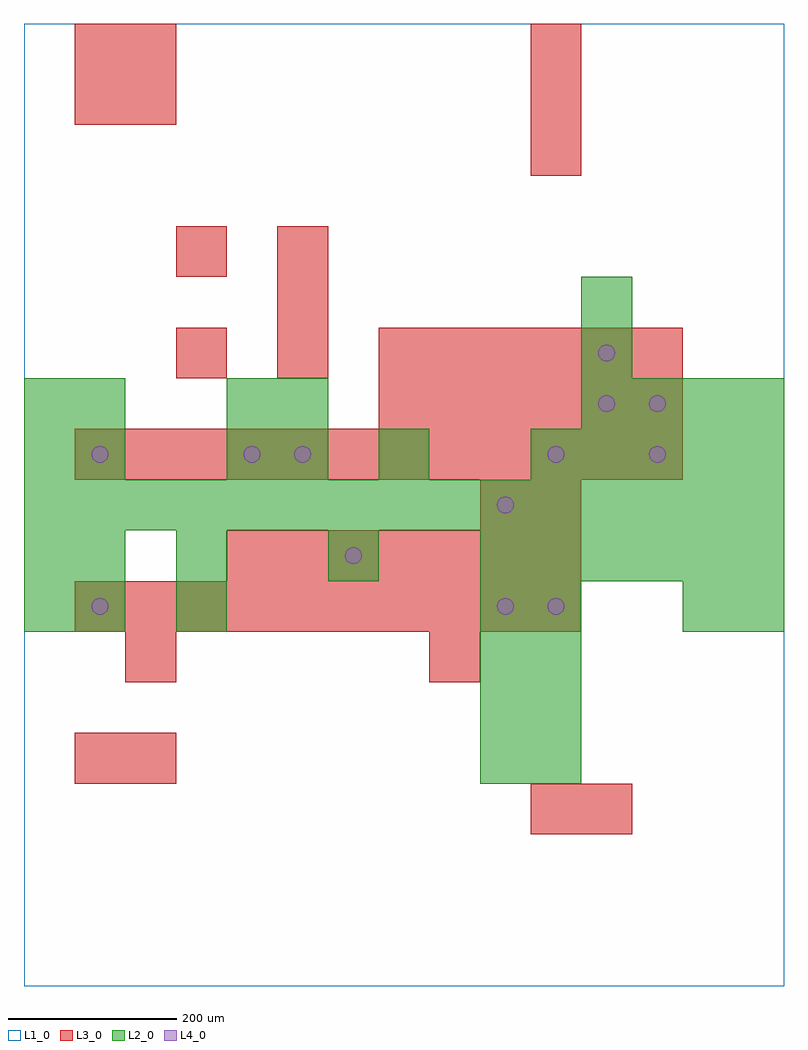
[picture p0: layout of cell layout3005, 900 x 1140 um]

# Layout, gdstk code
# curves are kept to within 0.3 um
import gdstk
lib = gdstk.Library(unit=1e-6, precision=1e-09)
def R(c, l, rs):  # rectangles x0, y0, x1, y1
    for r in rs: c.add(gdstk.rectangle(r[:2], r[2:], *l))
def A(c, l, x, y, w, h, nx, ny, dx, dy):  # array of equal rectangles
    R(c, l, [(x+i*dx, y+j*dy, x+i*dx+w, y+j*dy+h) for i in range(nx) for j in range(ny)])
def P(c, l, *ps):  # polygons
    for p in ps: c.add(gdstk.Polygon(p, *l))
L1_0 = (1, 0)
L2_0 = (2, 0)
L3_0 = (3, 0)
L4_0 = (4, 0)

layout3005 = lib.new_cell('layout3005')
R(layout3005, L1_0, [(0,0,900,1140)])
A(layout3005, L2_0, 540, 240, 60, 60, 1, 4, 0, 60)
A(layout3005, L2_0, 600, 240, 60, 60, 1, 4, 0, 60)
A(layout3005, L2_0, 180, 480, 60, 60, 3, 1, 180, 0)
A(layout3005, L2_0, 600, 480, 60, 60, 5, 2, 60, 120)
A(layout3005, L2_0, 0, 540, 60, 60, 15, 1, 60, 0)
A(layout3005, L2_0, 660, 660, 60, 60, 4, 1, 60, 0)
R(layout3005, L2_0, [(0,420,60,480), (60,420,120,480), (180,420,240,480), (780,420,840,480), (840,420,900,480), (0,480,60,540), (60,480,120,540), (0,600,60,660), (60,600,120,660), (240,600,300,660), (300,600,360,660), (420,600,480,660), (0,660,60,720), (60,660,120,720), (240,660,300,720), (300,660,360,720), (660,720,720,780), (660,780,720,840)])
A(layout3005, L3_0, 60, 420, 60, 60, 10, 1, 60, 0)
A(layout3005, L3_0, 240, 480, 60, 60, 7, 1, 60, 0)
A(layout3005, L3_0, 60, 600, 60, 60, 12, 1, 60, 0)
A(layout3005, L3_0, 420, 660, 60, 60, 6, 1, 60, 0)
A(layout3005, L3_0, 180, 720, 60, 60, 3, 1, 120, 0)
A(layout3005, L3_0, 480, 720, 60, 60, 5, 1, 60, 0)
A(layout3005, L3_0, 600, 960, 60, 60, 1, 3, 0, 60)
R(layout3005, L3_0, [(600,180,660,240), (660,180,720,240), (60,240,120,300), (120,240,180,300), (120,360,180,420), (480,360,540,420), (540,540,600,600), (600,540,660,600), (300,780,360,840), (180,840,240,900), (300,840,360,900), (60,1020,120,1080), (120,1020,180,1080), (60,1080,120,1140), (120,1080,180,1140)])
P(layout3005, L4_0, [(100,450),(99.239,453.827),(97.071,457.071),(93.827,459.239),(90,460),(86.173,459.239),(82.929,457.071),(80.761,453.827),(80,450),(80.761,446.173),(82.929,442.929),(86.173,440.761),(90,440),(93.827,440.761),(97.071,442.929),(99.239,446.173)],
  [(100,630),(99.239,633.827),(97.071,637.071),(93.827,639.239),(90,640),(86.173,639.239),(82.929,637.071),(80.761,633.827),(80,630),(80.761,626.173),(82.929,622.929),(86.173,620.761),(90,620),(93.827,620.761),(97.071,622.929),(99.239,626.173)],
  [(280,630),(279.239,633.827),(277.071,637.071),(273.827,639.239),(270,640),(266.173,639.239),(262.929,637.071),(260.761,633.827),(260,630),(260.761,626.173),(262.929,622.929),(266.173,620.761),(270,620),(273.827,620.761),(277.071,622.929),(279.239,626.173)],
  [(340,630),(339.239,633.827),(337.071,637.071),(333.827,639.239),(330,640),(326.173,639.239),(322.929,637.071),(320.761,633.827),(320,630),(320.761,626.173),(322.929,622.929),(326.173,620.761),(330,620),(333.827,620.761),(337.071,622.929),(339.239,626.173)],
  [(400,510),(399.239,513.827),(397.071,517.071),(393.827,519.239),(390,520),(386.173,519.239),(382.929,517.071),(380.761,513.827),(380,510),(380.761,506.173),(382.929,502.929),(386.173,500.761),(390,500),(393.827,500.761),(397.071,502.929),(399.239,506.173)],
  [(580,450),(579.239,453.827),(577.071,457.071),(573.827,459.239),(570,460),(566.173,459.239),(562.929,457.071),(560.761,453.827),(560,450),(560.761,446.173),(562.929,442.929),(566.173,440.761),(570,440),(573.827,440.761),(577.071,442.929),(579.239,446.173)],
  [(580,570),(579.239,573.827),(577.071,577.071),(573.827,579.239),(570,580),(566.173,579.239),(562.929,577.071),(560.761,573.827),(560,570),(560.761,566.173),(562.929,562.929),(566.173,560.761),(570,560),(573.827,560.761),(577.071,562.929),(579.239,566.173)],
  [(640,450),(639.239,453.827),(637.071,457.071),(633.827,459.239),(630,460),(626.173,459.239),(622.929,457.071),(620.761,453.827),(620,450),(620.761,446.173),(622.929,442.929),(626.173,440.761),(630,440),(633.827,440.761),(637.071,442.929),(639.239,446.173)],
  [(640,630),(639.239,633.827),(637.071,637.071),(633.827,639.239),(630,640),(626.173,639.239),(622.929,637.071),(620.761,633.827),(620,630),(620.761,626.173),(622.929,622.929),(626.173,620.761),(630,620),(633.827,620.761),(637.071,622.929),(639.239,626.173)],
  [(700,690),(699.239,693.827),(697.071,697.071),(693.827,699.239),(690,700),(686.173,699.239),(682.929,697.071),(680.761,693.827),(680,690),(680.761,686.173),(682.929,682.929),(686.173,680.761),(690,680),(693.827,680.761),(697.071,682.929),(699.239,686.173)],
  [(700,750),(699.239,753.827),(697.071,757.071),(693.827,759.239),(690,760),(686.173,759.239),(682.929,757.071),(680.761,753.827),(680,750),(680.761,746.173),(682.929,742.929),(686.173,740.761),(690,740),(693.827,740.761),(697.071,742.929),(699.239,746.173)],
  [(760,630),(759.239,633.827),(757.071,637.071),(753.827,639.239),(750,640),(746.173,639.239),(742.929,637.071),(740.761,633.827),(740,630),(740.761,626.173),(742.929,622.929),(746.173,620.761),(750,620),(753.827,620.761),(757.071,622.929),(759.239,626.173)],
  [(760,690),(759.239,693.827),(757.071,697.071),(753.827,699.239),(750,700),(746.173,699.239),(742.929,697.071),(740.761,693.827),(740,690),(740.761,686.173),(742.929,682.929),(746.173,680.761),(750,680),(753.827,680.761),(757.071,682.929),(759.239,686.173)])

lib.write_gds('layout3005.gds')
